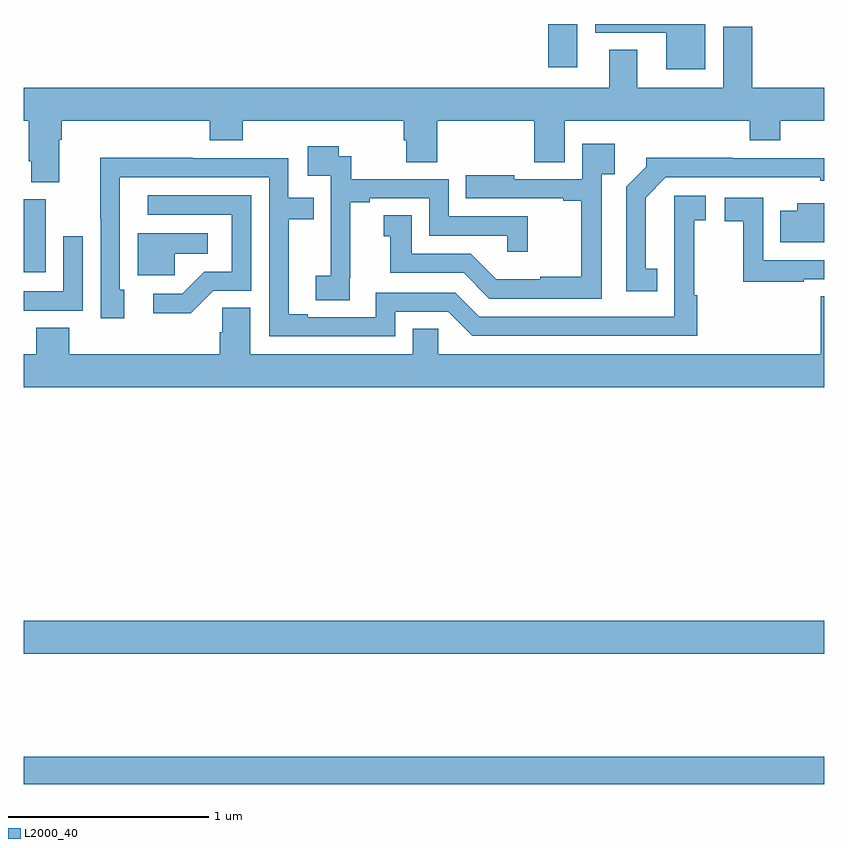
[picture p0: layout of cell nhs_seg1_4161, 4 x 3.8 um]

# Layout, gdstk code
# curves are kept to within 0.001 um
import gdstk
lib = gdstk.Library(unit=1e-6, precision=1e-09)
def R(c, l, rs):  # rectangles x0, y0, x1, y1
    for r in rs: c.add(gdstk.rectangle(r[:2], r[2:], *l))
def P(c, l, *ps):  # polygons
    for p in ps: c.add(gdstk.Polygon(p, *l))
L2000_40 = (2000, 40)

nhs_seg1_4161 = lib.new_cell('nhs_seg1_4161')
R(nhs_seg1_4161, L2000_40, [(337,564.4,341,564.536), (337,565.052,341,565.216), (337,566.957,337.108,567.324), (339.62,567.984,339.766,568.199)])
P(nhs_seg1_4161, L2000_40, [(340.407,568.199),(339.855,568.199),(339.855,568.155),(340.211,568.155),(340.211,567.974),(340.407,567.974)],
  [(337.177,567.62),(337.19,567.62),(337.19,567.716),(337.928,567.716),(337.928,567.617),(338.093,567.617),(338.093,567.716),(338.9,567.716),(338.9,567.618),(338.912,567.618),(338.912,567.508),(339.065,567.508),(339.065,567.716),(339.551,567.716),(339.551,567.508),(339.703,567.508),(339.703,567.716),(340.628,567.716),(340.628,567.617),(340.78,567.617),(340.78,567.716),(341,567.716),(341,567.88),(340.64,567.88),(340.64,568.185),(340.496,568.185),(340.496,567.88),(340.066,567.88),(340.066,568.07),(339.926,568.07),(339.926,567.88),(337,567.88),(337,567.716),(337.025,567.716),(337.025,567.514),(337.037,567.514),(337.037,567.409),(337.177,567.409)],
  [(339.888,567.449),(339.953,567.449),(339.953,567.601),(339.792,567.601),(339.792,567.423),(339.451,567.423),(339.451,567.442),(339.208,567.442),(339.208,567.327),(339.695,567.327),(339.695,567.315),(339.787,567.315),(339.787,566.935),(339.581,566.935),(339.581,566.923),(339.362,566.923),(339.234,567.051),(338.938,567.051),(338.938,567.242),(338.798,567.242),(338.798,567.139),(338.831,567.139),(338.831,566.955),(339.198,566.955),(339.327,566.826),(339.888,566.826)],
  [(338.63,566.929),(338.632,566.929),(338.632,567.307),(338.728,567.307),(338.728,567.327),(339.027,567.327),(339.027,567.141),(339.417,567.141),(339.417,567.06),(339.518,567.06),(339.518,567.237),(339.123,567.237),(339.123,567.423),(338.636,567.423),(338.636,567.537),(338.574,567.537),(338.574,567.589),(338.418,567.589),(338.418,567.441),(338.535,567.441),(338.535,567.137),(338.534,567.137),(338.534,566.94),(338.46,566.94),(338.46,566.818),(338.63,566.818)],
  [(340.166,566.975),(340.108,566.975),(340.108,567.331),(340.209,567.432),(340.98,567.432),(340.98,567.416),(341,567.416),(341,567.528),(340.544,567.528),(340.544,567.53),(340.11,567.53),(340.11,567.485),(340.011,567.386),(340.011,566.862),(340.166,566.862)],
  [(338.856,566.76),(339.12,566.76),(339.24,566.64),(340.367,566.64),(340.367,566.843),(340.35,566.843),(340.35,567.219),(340.408,567.219),(340.408,567.34),(340.25,567.34),(340.251,566.736),(339.276,566.736),(339.156,566.856),(338.76,566.856),(338.76,566.733),(338.419,566.733),(338.419,566.748),(338.323,566.748),(338.323,567.222),(338.45,567.222),(338.45,567.33),(338.322,567.33),(338.322,567.528),(337.844,567.528),(337.844,567.53),(337.382,567.53),(337.383,566.727),(337.501,566.727),(337.501,566.871),(337.479,566.871),(337.479,567.432),(338.226,567.432),(338.226,566.637),(338.856,566.637)],
  [(337.947,566.865),(338.136,566.865),(338.136,567.342),(337.62,567.342),(337.62,567.246),(338.04,567.246),(338.04,566.961),(337.902,566.961),(337.791,566.85),(337.647,566.85),(337.647,566.753),(337.834,566.753)],
  [(340.898,566.922),(341,566.922),(341,567.018),(340.695,567.018),(340.695,567.33),(340.503,567.33),(340.503,567.214),(340.597,567.214),(340.597,566.91),(340.898,566.91)],
  [(341,567.304),(340.865,567.304),(340.865,567.265),(340.78,567.265),(340.78,567.107),(341,567.107)],
  [(337.755,567.05),(337.918,567.05),(337.918,567.154),(337.568,567.154),(337.568,566.943),(337.755,566.943)],
  [(337.293,567.139),(337.197,567.139),(337.197,566.862),(337,566.862),(337,566.766),(337.293,566.766)],
  [(341,566.837),(340.982,566.837),(340.982,566.548),(339.072,566.548),(339.072,566.675),(338.945,566.675),(338.945,566.548),(338.131,566.548),(338.131,566.78),(337.992,566.78),(337.992,566.657),(337.979,566.657),(337.979,566.548),(337.226,566.548),(337.226,566.681),(337.061,566.681),(337.061,566.548),(337,566.548),(337,566.384),(341,566.384)])

lib.write_gds('nhs_seg1_4161.gds')
